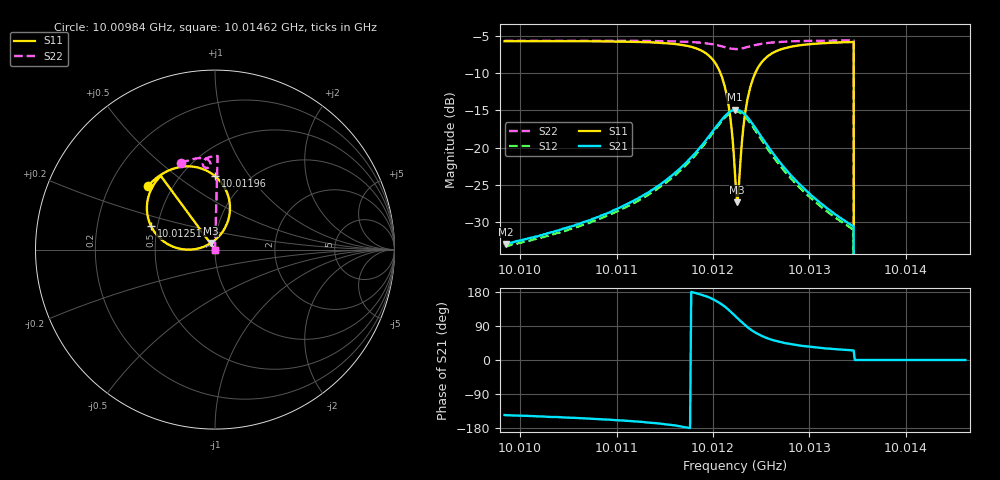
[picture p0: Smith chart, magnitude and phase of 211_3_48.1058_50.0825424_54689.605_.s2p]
#  HZ  S  RI  R  50.00
! Rohde & Schwarz Vector Network Analyzer
! Rohde-Schwarz,ZNB20-2Port,1311601062101988,3.16
! Created: UTC 12/23/2023, 3:55:46 AM
! freq[Hz]  re:S11  im:S11  re:S21  im:S21  re:S12  im:S12  re:S22  im:S22
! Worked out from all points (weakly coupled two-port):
!   401 points, 10.00984 GHz to 10.01462 GHz, reference 50 ohm
!   highest |S21| = -14.92 dB at 10.01223 GHz (marker M1); lowest = -32.9 dB at 10.00985 GHz (marker M2)
!   lowest |S11| = -27.3 dB at 10.01225 GHz (marker M3), VSWR 1.09, Z = 47.6 + j3.46 ohm
!   |S11| at or under -10 dB: 10.01208 GHz to 10.01244 GHz (362.3 kHz wide, 0.00362 % of centre); 10.01346 GHz to end of sweep
!   |S22| runs from - to -5.7 dB; largest |S21 - S12| = 0.0089
!   S11 on the Smith chart (normalised r, x): 10.00984 GHz: 0.36, +0.35; 10.01196 GHz: 0.72, +0.70; 10.01251 GHz: 0.46, +0.14; 10.01462 GHz: 1.00, +0.00
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1.0009839e10  -0.3746 0.3546  -0.0187 -0.013  -0.0174 -0.0133  -0.1916 0.4818
1.0009851e10  -0.3739 0.3551  -0.0187 -0.0128  -0.0174 -0.0133  -0.1908 0.4821
1.0010639e10  -0.3193 0.4046  -0.0282 -0.0137  -0.0264 -0.0147  -0.1406 0.4996
1.0011439e10  -0.2144 0.4561  -0.0546 -0.0121  -0.0519 -0.0144  -0.0824 0.51
1.0011786e10  -0.1037 0.459  -0.0877 0.00174  -0.0847 -0.00312  -0.0506 0.5062
1.0011965e10  0.00107 0.4085  -0.1164 0.0324  -0.1146 0.0254  -0.0324 0.4943
1.0012061e10  0.0625 0.3277  -0.1281 0.0691  -0.1286 0.0606  -0.0257 0.4813
1.0012132e10  0.0834 0.225  -0.1242 0.1086  -0.1261 0.1003  -0.027 0.4681
1.001218e10  0.0662 0.1433  -0.1083 0.1372  -0.1116 0.1293  -0.0325 0.4601
1.0012228e10  0.0144 0.0661  -0.0803 0.1605  -0.0848 0.1533  -0.0418 0.4553
1.0012252e10  -0.023 0.0363  -0.0633 0.1675  -0.0683 0.1607  -0.0472 0.4548
1.0012276e10  -0.065 0.015  -0.0459 0.1709  -0.0508 0.1648  -0.0523 0.4558
1.0012323e10  -0.1528 -0.000173  -0.0119 0.1679  -0.0161 0.1623  -0.0613 0.4612
1.0012359e10  -0.2136 0.00917  0.0104 0.1589  0.00512 0.1535  -0.0654 0.4671
1.0012431e10  -0.3024 0.0591  0.0393 0.1324  0.0335 0.1283  -0.0678 0.4801
1.0012514e10  -0.3562 0.1307  0.053 0.1019  0.047 0.0994  -0.0638 0.4924
1.0012729e10  -0.3773 0.2637  0.0523 0.0533  0.0474 0.0529  -0.0445 0.5099
1.0013028e10  -0.3473 0.3518  0.0392 0.0266  0.0361 0.0271  -0.0184 0.5183
1.0013434e10  -0.3042 0.4084  0.0273 0.0131  0.0252 0.0138  0.013 0.5215
1.0013494e10  0 0  0 0  0 0  0 0
1.0013828e10  0 0  0 0  0 0  0 0
1.0014617e10  0 0  0 0  0 0  0 0
